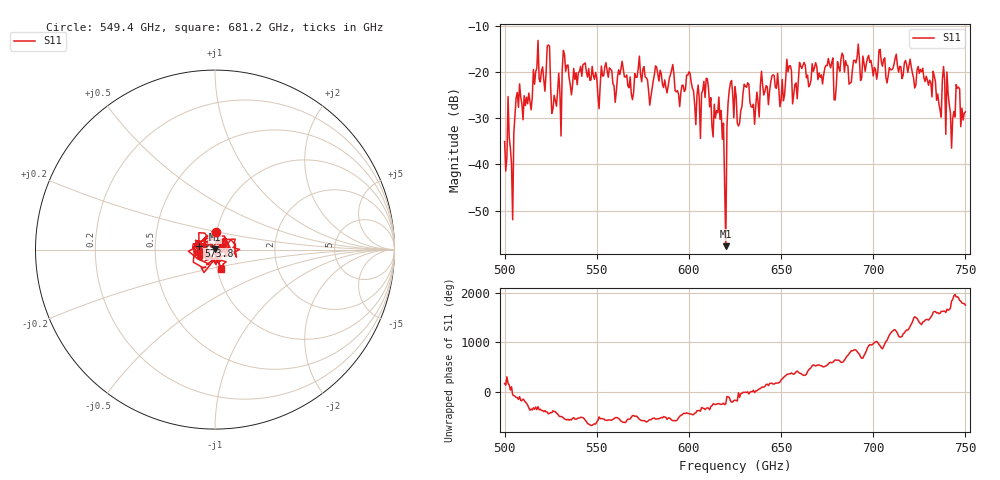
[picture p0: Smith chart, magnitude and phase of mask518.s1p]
!Created with skrf (http://scikit-rf.org).
# GHz S MA R 50.0
!freq magS11 angS11
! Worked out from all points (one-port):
!   401 points, 500 GHz to 750 GHz, reference 50 ohm
!   lowest |S11| = -57.7 dB at 620 GHz (marker M1), VSWR 1.00, Z = 49.9 + j0.0968 ohm
!   |S11| at or under -10 dB: start of sweep to end of sweep
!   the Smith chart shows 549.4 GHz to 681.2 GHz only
!   S11 on the Smith chart (normalised r, x): 549.4 GHz: 0.99, +0.20; 573.8 GHz: 0.83, +0.03; 681.2 GHz: 1.04, -0.22
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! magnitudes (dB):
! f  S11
! 500 GHz  -35.1
! 503.8 GHz  -40.0
! 506.9 GHz  -24.4
! 513.8 GHz  -26.5
! 516.9 GHz  -20.0
! 523.8 GHz  -14.2
! 526.9 GHz  -25.1
! 531.2 GHz  -19.5
! 533.1 GHz  -19.9
! 549.4 GHz  -20.1
! 562.5 GHz  -20.6
! 568.8 GHz  -24.8
! 573.8 GHz  -20.6
! 593.8 GHz  -24.0
! 600 GHz  -20.0
! 605 GHz  -22.9
! 609.4 GHz  -21.4
! 617.5 GHz  -28.4
! 618.8 GHz  -31.1
! 620 GHz  -57.7
! 622.5 GHz  -22.4
! 625 GHz  -23.2
! 656.2 GHz  -26.9
! 681.2 GHz  -19.1
! 687.5 GHz  -22.4
! 690.6 GHz  -18.1
! 718.8 GHz  -20.1
! 750 GHz  -28.7
